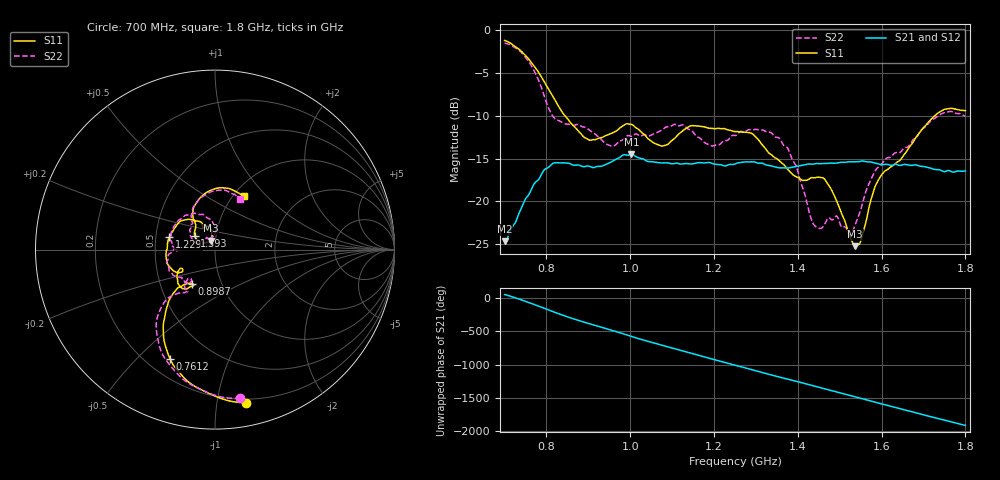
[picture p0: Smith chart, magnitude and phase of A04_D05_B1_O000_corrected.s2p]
! Created with skrf 1.9.0 (http://scikit-rf.org).
# Hz S RI R 50.0
!freq ReS11 ImS11 ReS21 ImS21 ReS12 ImS12 ReS22 ImS22
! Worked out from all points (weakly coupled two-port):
!   1601 points, 700 MHz to 1.8 GHz, reference 50 ohm
!   highest |S21| = -14.53 dB at 1.002 GHz (marker M1); lowest = -24.7 dB at 700 MHz (marker M2)
!   lowest |S11| = -25.2 dB at 1.537 GHz (marker M3), VSWR 1.12, Z = 47.4 + j4.69 ohm
!   |S11| at or under -10 dB: 844.1 MHz to 1.727 GHz (882.8 MHz wide, 68.7 % of centre)
!   |S22| runs from -24.0 to -1.5 dB; largest |S21 - S12| = 0.0036
!   S11 on the Smith chart (normalised r, x): 700 MHz: 0.17, -1.20; 761.2 MHz: 0.29, -0.63; 898.7 MHz: 0.72, -0.29; 1.229 GHz: 0.59, +0.09; 1.593 GHz: 0.79, +0.12; 1.8 GHz: 1.12, +0.75
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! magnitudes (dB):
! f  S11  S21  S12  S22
! 700 MHz  -1.2  -24.7  -24.4  -1.5
! 761.2 MHz  -3.6  -18.9  -18.8  -3.9
! 816.9 MHz  -7.9  -15.5  -15.6  -10.2
! 883.6 MHz  -12.2  -15.9  -15.8  -11.2
! 898.7 MHz  -12.8  -15.9  -15.9  -11.5
! 955.1 MHz  -12.1  -15.4  -15.4  -13.5
! 1.002 GHz  -11.0  -14.5  -14.6  -12.4
! 1.067 GHz  -13.4  -15.5  -15.4  -11.9
! 1.145 GHz  -11.2  -15.6  -15.6  -11.7
! 1.229 GHz  -11.6  -15.8  -15.7  -12.9
! 1.25 GHz  -11.9  -15.6  -15.6  -12.3
! 1.357 GHz  -15.3  -16.1  -16.0  -12.7
! 1.396 GHz  -17.1  -15.9  -15.9  -15.9
! 1.434 GHz  -17.2  -15.7  -15.6  -22.3
! 1.474 GHz  -18.2  -15.6  -15.6  -21.9
! 1.524 GHz  -24.1  -15.4  -15.4  -24.0
! 1.537 GHz  -25.2  -15.4  -15.4  -22.8
! 1.55 GHz  -24.6  -15.3  -15.3  -20.9
! 1.593 GHz  -17.4  -15.6  -15.6  -16.0
! 1.617 GHz  -16.2  -15.7  -15.7  -14.9
! 1.734 GHz  -9.7  -16.3  -16.3  -10.1
! 1.8 GHz  -9.4  -16.4  -16.4  -10.1
